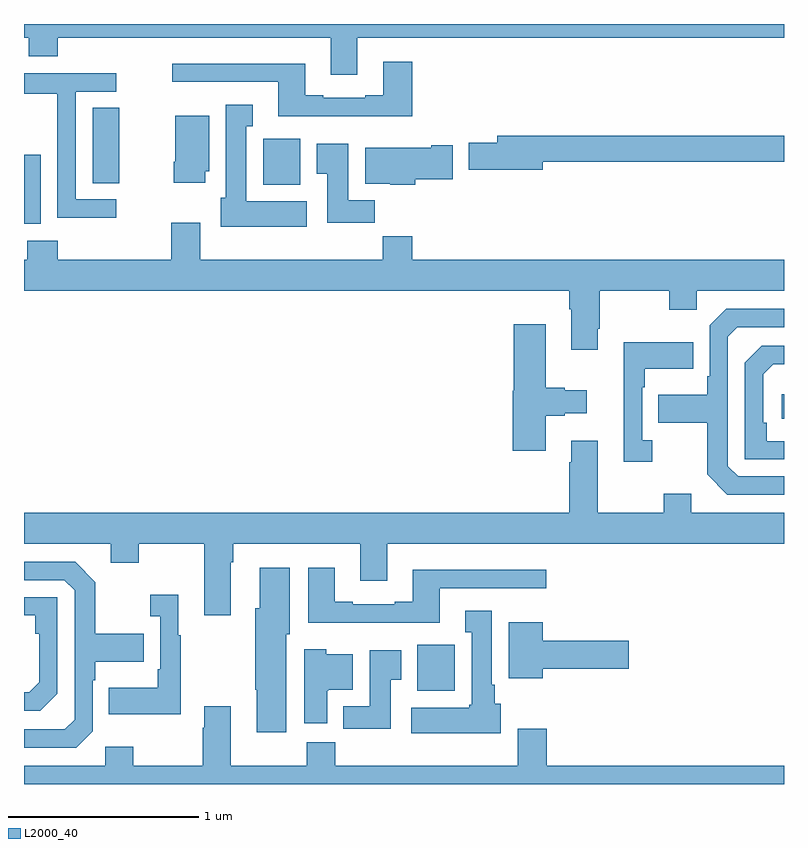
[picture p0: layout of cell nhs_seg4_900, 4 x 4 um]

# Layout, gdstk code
import gdstk
lib = gdstk.Library(unit=1e-6, precision=1e-09)
def R(c, l, rs):  # rectangles x0, y0, x1, y1
    for r in rs: c.add(gdstk.rectangle(r[:2], r[2:], *l))
def P(c, l, *ps):  # polygons
    for p in ps: c.add(gdstk.Polygon(p, *l))
L2000_40 = (2000, 40)

nhs_seg4_900 = lib.new_cell('nhs_seg4_900')
R(nhs_seg4_900, L2000_40, [(159.071,785.39,159.268,785.632), (160.989,786.822,161,786.952), (157,787.85,157.087,788.211), (158.258,788.054,158.455,788.296), (157.361,788.062,157.5,788.459)])
P(nhs_seg4_900, L2000_40, [(158.755,788.828),(161,788.828),(161,788.9),(157,788.9),(157,788.828),(157.025,788.828),(157.025,788.729),(157.178,788.729),(157.178,788.828),(158.615,788.828),(158.615,788.634),(158.755,788.634)],
  [(159.044,788.701),(158.891,788.701),(158.891,788.524),(158.795,788.524),(158.795,788.511),(158.575,788.511),(158.575,788.524),(158.479,788.524),(158.479,788.692),(157.779,788.692),(157.779,788.595),(158.339,788.595),(158.339,788.414),(159.044,788.414)],
  [(157.486,787.977),(157.272,787.977),(157.272,788.544),(157.486,788.544),(157.486,788.64),(157,788.64),(157,788.532),(157.174,788.532),(157.174,788.308),(157.176,788.308),(157.176,787.879),(157.486,787.879)],
  [(158.488,787.966),(158.17,787.966),(158.17,788.363),(158.203,788.363),(158.203,788.476),(158.063,788.476),(158.063,787.986),(158.036,787.986),(158.036,787.832),(158.488,787.832)],
  [(157.954,788.124),(157.975,788.124),(157.975,788.416),(157.796,788.416),(157.796,788.176),(157.789,788.176),(157.789,788.064),(157.954,788.064)],
  [(159.73,788.176),(161,788.176),(161,788.312),(159.491,788.312),(159.491,788.276),(159.342,788.276),(159.342,788.134),(159.73,788.134)],
  [(158.846,787.972),(158.707,787.972),(158.707,788.269),(158.54,788.269),(158.54,788.113),(158.597,788.113),(158.597,787.854),(158.846,787.854)],
  [(159.059,788.083),(159.256,788.083),(159.256,788.261),(159.143,788.261),(159.143,788.248),(158.795,788.248),(158.795,788.06),(158.928,788.06),(158.928,788.054),(159.059,788.054)],
  [(160.021,787.297),(160.029,787.297),(160.029,787.496),(160.396,787.496),(160.396,787.397),(160.542,787.397),(160.542,787.496),(161,787.496),(161,787.66),(159.044,787.66),(159.044,787.784),(158.887,787.784),(158.887,787.66),(157.927,787.66),(157.927,787.855),(157.775,787.855),(157.775,787.66),(157.178,787.66),(157.178,787.759),(157.018,787.759),(157.018,787.66),(157,787.66),(157,787.496),(159.869,787.496),(159.869,787.4),(159.881,787.4),(159.881,787.185),(160.021,787.185)],
  [(161,786.519),(160.758,786.519),(160.704,786.573),(160.704,787.254),(160.755,787.305),(161,787.305),(161,787.401),(160.695,787.401),(160.608,787.314),(160.608,787.045),(160.596,787.045),(160.596,786.949),(160.339,786.949),(160.339,786.802),(160.596,786.802),(160.596,786.529),(160.701,786.423),(161,786.423)],
  [(159.745,786.839),(159.845,786.839),(159.845,786.851),(159.961,786.851),(159.961,786.973),(159.845,786.973),(159.845,786.986),(159.745,786.986),(159.745,787.321),(159.578,787.321),(159.578,786.969),(159.572,786.969),(159.572,786.654),(159.745,786.654)],
  [(160.306,786.71),(160.254,786.71),(160.254,786.989),(160.267,786.989),(160.267,787.085),(160.523,787.085),(160.523,787.225),(160.157,787.225),(160.157,786.597),(160.306,786.597)],
  [(161,786.705),(160.91,786.705),(160.91,786.802),(160.89,786.802),(160.89,787.056),(160.943,787.109),(161,787.109),(161,787.206),(160.884,787.206),(160.794,787.116),(160.794,786.609),(161,786.609)],
  [(158.089,786.068),(158.102,786.068),(158.102,786.164),(158.771,786.164),(158.771,785.97),(158.911,785.97),(158.911,786.164),(161,786.164),(161,786.328),(160.513,786.328),(160.513,786.427),(160.366,786.427),(160.366,786.328),(160.021,786.328),(160.021,786.706),(159.881,786.706),(159.881,786.593),(159.869,786.593),(159.869,786.328),(157,786.328),(157,786.164),(157.457,786.164),(157.457,786.065),(157.605,786.065),(157.605,786.164),(157.949,786.164),(157.949,785.787),(158.089,785.787)],
  [(157.362,785.178),(157.362,785.447),(157.375,785.447),(157.375,785.543),(157.631,785.543),(157.631,785.691),(157.375,785.691),(157.375,785.963),(157.269,786.069),(157,786.069),(157,785.973),(157.212,785.973),(157.266,785.919),(157.266,785.238),(157.215,785.187),(157,785.187),(157,785.091),(157.275,785.091)],
  [(158.38,785.688),(158.398,785.688),(158.398,786.037),(158.24,786.037),(158.24,785.826),(158.218,785.826),(158.218,785.395),(158.225,785.395),(158.225,785.172),(158.38,785.172)],
  [(159.187,785.931),(159.748,785.931),(159.748,786.028),(159.047,786.028),(159.047,785.86),(158.951,785.86),(158.951,785.847),(158.731,785.847),(158.731,785.86),(158.635,785.86),(158.635,786.037),(158.495,786.037),(158.495,785.75),(159.187,785.75)],
  [(157.825,785.683),(157.813,785.683),(157.813,785.896),(157.665,785.896),(157.665,785.783),(157.716,785.783),(157.716,785.503),(157.704,785.503),(157.704,785.407),(157.447,785.407),(157.447,785.267),(157.825,785.267)],
  [(157.176,785.376),(157.176,785.883),(157,785.883),(157,785.787),(157.06,785.787),(157.06,785.69),(157.08,785.69),(157.08,785.436),(157.027,785.383),(157,785.383),(157,785.286),(157.086,785.286)],
  [(159.508,785.322),(159.478,785.322),(159.478,785.422),(159.463,785.422),(159.463,785.812),(159.323,785.812),(159.323,785.699),(159.356,785.699),(159.356,785.316),(159.343,785.316),(159.343,785.302),(159.039,785.302),(159.039,785.168),(159.508,785.168)],
  [(159.73,785.507),(160.183,785.507),(160.183,785.654),(159.73,785.654),(159.73,785.752),(159.551,785.752),(159.551,785.456),(159.73,785.456)],
  [(158.596,785.39),(158.602,785.39),(158.602,785.396),(158.731,785.396),(158.731,785.584),(158.592,785.584),(158.592,785.608),(158.474,785.608),(158.474,785.22),(158.596,785.22)],
  [(158.929,785.449),(158.986,785.449),(158.986,785.605),(158.819,785.605),(158.819,785.308),(158.681,785.308),(158.681,785.19),(158.929,785.19)],
  [(161,784.996),(159.752,784.996),(159.752,785.191),(159.599,785.191),(159.599,784.996),(158.639,784.996),(158.639,785.12),(158.488,785.12),(158.488,784.996),(158.089,784.996),(158.089,785.308),(157.949,785.308),(157.949,785.195),(157.942,785.195),(157.942,784.996),(157.575,784.996),(157.575,785.095),(157.428,785.095),(157.428,784.996),(157,784.996),(157,784.9),(161,784.9)])

lib.write_gds('nhs_seg4_900.gds')
